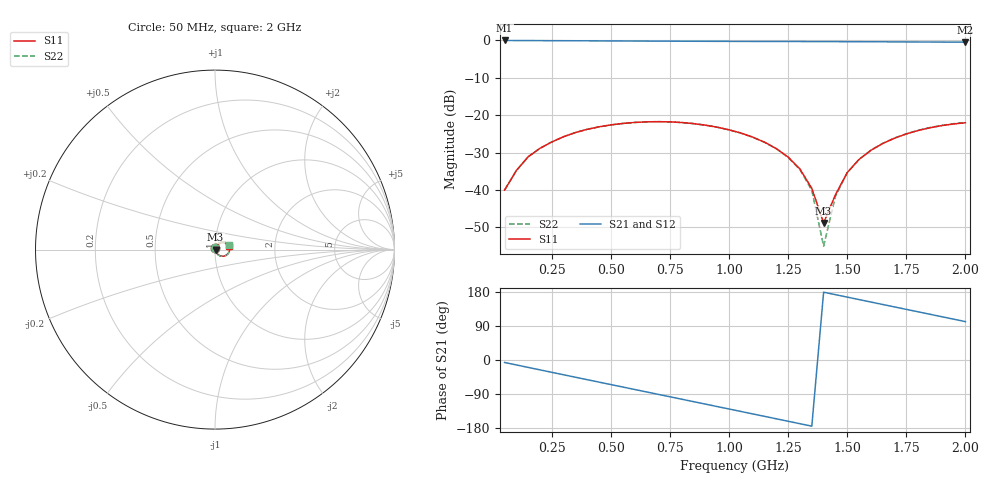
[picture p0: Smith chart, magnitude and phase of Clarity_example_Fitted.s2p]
!Generated from: C:\Users\peter4656563\Desktop\__Study\Test\43micro_FIT.BNP
! Port1::DQ
! Port2::DQ
!BroadbandSPICE Version: 24.1.0.10141.541387  000
!Computer Host Name: RD78ECE-EMCLAB
!TouchstoneFormatFlag = 1
! GNDNET GND
! NETSLIST
#	Hz	S	RI	R	50
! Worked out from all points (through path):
!   40 points, 50 MHz to 2 GHz, reference 50 ohm
!   highest |S21| = -0.02 dB at 50 MHz (marker M1); lowest = -0.5 dB at 2 GHz (marker M2)
!   group delay of S21, straight-line fit = 359 ps
!   lowest |S11| = -48.8 dB at 1.4 GHz (marker M3), VSWR 1.01, Z = 50.4 - j0.0884 ohm
!   |S11| at or under -10 dB: start of sweep to end of sweep
!   |S22| runs from -55.1 to -21.7 dB; largest |S21 - S12| = 0
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5e7  0.000961 0.00991  0.9912 -0.1135  0.9912 -0.1135  0.000959 0.00991
1e8  0.00416 0.0177  0.9693 -0.2248  0.9693 -0.2248  0.00415 0.0177
1.5e8  0.00908 0.0262  0.9367 -0.3334  0.9367 -0.3334  0.00907 0.0262
2.5e8  0.023 0.0374  0.8353 -0.5334  0.8353 -0.5334  0.0229 0.0374
4e8  0.0495 0.0415  0.6078 -0.7772  0.6078 -0.7772  0.0495 0.0416
5.5e8  0.072 0.0284  0.3145 -0.93  0.3145 -0.93  0.072 0.0284
7e8  0.0817 0.00443  -0.0109 -0.9774  -0.0109 -0.9774  0.0817 0.00448
8.5e8  0.0742 -0.0205  -0.3326 -0.915  -0.3326 -0.915  0.0742 -0.0206
9.5e8  0.0611 -0.032  -0.5273 -0.8158  -0.5273 -0.8158  0.0609 -0.0322
1.05e9  0.0443 -0.0368  -0.6949 -0.676  -0.6949 -0.676  0.0439 -0.037
1.15e9  0.0272 -0.0339  -0.827 -0.5026  -0.827 -0.5026  0.0266 -0.0342
1.25e9  0.0132 -0.0241  -0.9171 -0.304  -0.9171 -0.304  0.0121 -0.0244
1.3e9  0.00821 -0.0171  -0.9447 -0.1984  -0.9447 -0.1984  0.00686 -0.0173
1.35e9  0.00493 -0.00927  -0.9601 -0.0904  -0.9601 -0.0904  0.0033 -0.00931
1.4e9  0.00351 -0.000878  -0.9632 0.0186  -0.9632 0.0186  0.00161 -0.000721
1.45e9  0.00404 0.0076  -0.9538 0.127  -0.9538 0.127  0.00187 0.00803
1.5e9  0.00651 0.0157  -0.9322 0.2336  -0.9322 0.2336  0.00409 0.0165
1.55e9  0.0108 0.0231  -0.8987 0.3367  -0.8987 0.3367  0.00815 0.0243
1.6e9  0.0167 0.0294  -0.8538 0.4352  -0.8538 0.4352  0.0139 0.031
1.7e9  0.0321 0.0372  -0.7325 0.6132  -0.7325 0.6132  0.0291 0.04
1.85e9  0.0581 0.0347  -0.4855 0.8173  -0.4855 0.8173  0.0556 0.0395
2e9  0.0771 0.0176  -0.1851 0.9276  -0.1851 0.9276  0.076 0.0244
